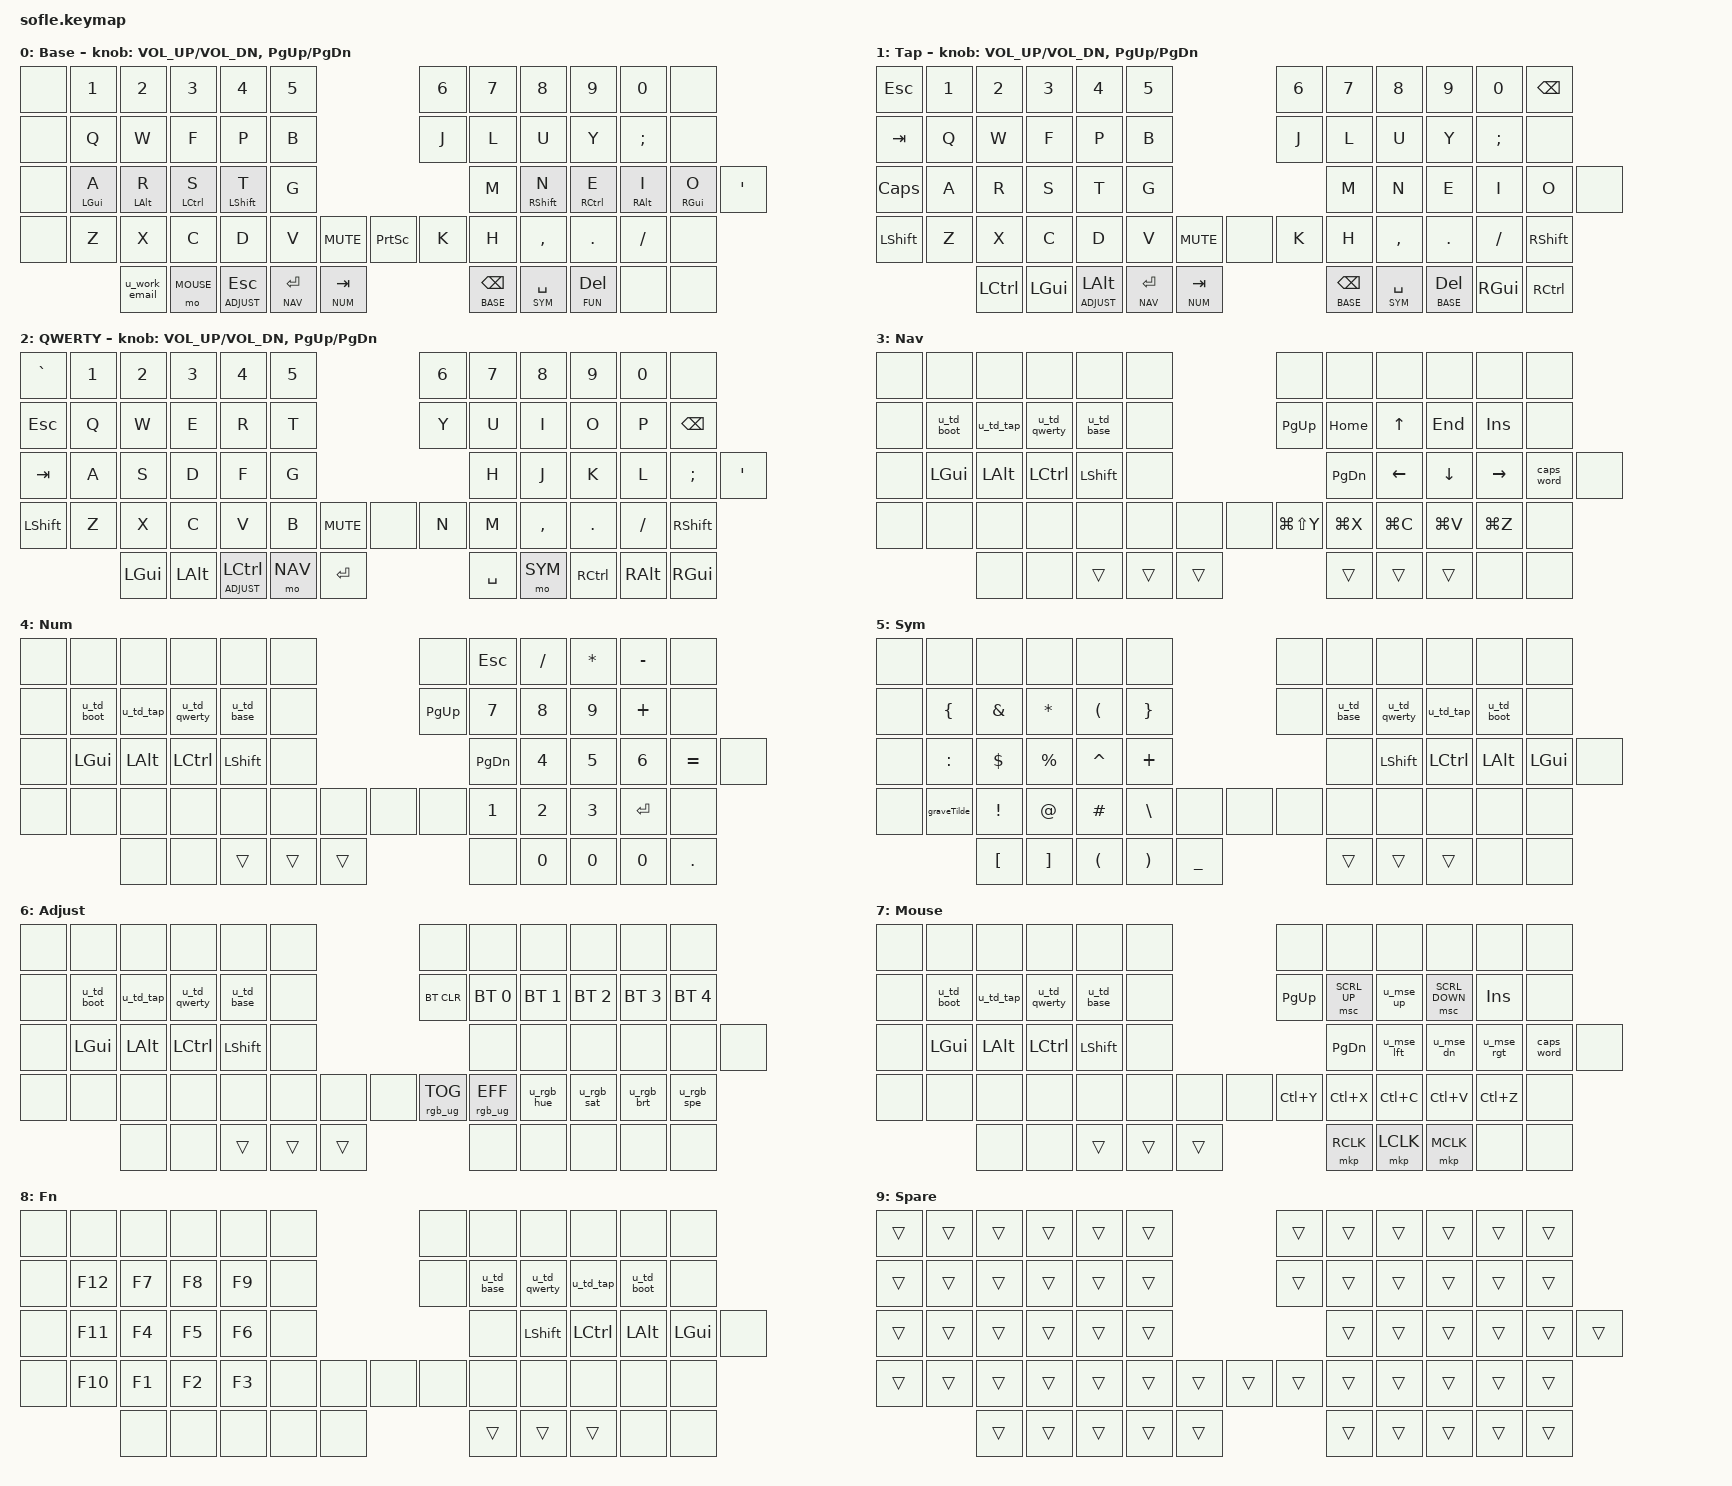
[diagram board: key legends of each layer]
/*
 * Copyright (c) 2020 The ZMK Contributors
 *
 * SPDX-License-Identifier: MIT
 */

#define ZMK_POINTING_DEFAULT_MOVE_VAL 1500  // default: 600
#define ZMK_POINTING_DEFAULT_SCRL_VAL 15    // default: 10

#include <behaviors.dtsi>
#include <dt-bindings/zmk/bt.h>
#include <dt-bindings/zmk/keys.h>
#include <dt-bindings/zmk/pointing.h>
#include <dt-bindings/zmk/rgb.h>

// Layer indices. Used everywhere a layer is referenced so the bindings stay
// self-documenting and renumbering is a one-line change.
#define BASE   0
#define TAP    1
#define EXTRA  2
#define NAV    3
#define NUM    4
#define SYM    5
#define ADJUST 6
#define MOUSE  7
#define FUN    8
// 9 = extra4 (reserved ZMK Studio runtime slot)
// 10 = Spare (transparent ZMK Studio runtime slot)

/ {
    combos {
        compatible = "zmk,combos";

        unlock {
            bindings = <&studio_unlock>;
            key-positions = <0 11>;
        };
    };

    behaviors {
        // Layer-tap: hold = momentary layer, tap = keypress.
        u_lt: u_lt {
            compatible = "zmk,behavior-hold-tap";
            label = "U_LT";
            #binding-cells = <2>;
            flavor = "tap-preferred";
            tapping-term-ms = <220>;
            bindings = <&mo>, <&kp>;
        };

        // Layer-tap with quick-tap: a tap immediately followed by a press
        // (within quick-tap-ms) sends the tap keycode held down, so it
        // auto-repeats instead of activating the layer. Used on the right
        // thumb cluster (backspace/space/delete) for hold-to-repeat.
        u_lt_rep: u_lt_rep {
            compatible = "zmk,behavior-hold-tap";
            label = "U_LT_REP";
            #binding-cells = <2>;
            flavor = "tap-preferred";
            tapping-term-ms = <220>;
            quick-tap-ms = <200>;
            bindings = <&mo>, <&kp>;
        };

        // SHIFT tier, left hand (T): balanced, eager hold so mid-flow capitals
        // fire on a cross-hand roll. Kept "as it stands now" (idle 150).
        hm_shift_l: hm_shift_l {
            compatible = "zmk,behavior-hold-tap";
            label = "HM_SHIFT_L";
            #binding-cells = <2>;
            flavor = "balanced";
            tapping-term-ms = <280>;
            quick-tap-ms = <175>;
            require-prior-idle-ms = <150>;
            bindings = <&kp>, <&kp>;
            hold-trigger-key-positions = <6 18 30 44 56 57 45 31 19 7 8 20 32 46 58 59 47 33 21 9 10 22 34 48 49 35 23 11 55 43>;
            hold-trigger-on-release;
        };

        // SHIFT tier, right hand (N): mirror of hm_shift_l.
        hm_shift_r: hm_shift_r {
            compatible = "zmk,behavior-hold-tap";
            label = "HM_SHIFT_R";
            #binding-cells = <2>;
            flavor = "balanced";
            tapping-term-ms = <280>;
            quick-tap-ms = <175>;
            require-prior-idle-ms = <150>;
            bindings = <&kp>, <&kp>;
            hold-trigger-key-positions = <0 12 24 36 37 25 13 1 2 14 26 38 50 51 39 27 15 3 4 28 16 40 52 53 41 17 29 5 54 42>;
            hold-trigger-on-release;
        };

        // ---- SHIFT tuning ladder (ZMK Studio scratch variants) -------------
        // Identical to hm_shift_l/r except require-prior-idle-ms. Lower idle =
        // hold can fire sooner after a prior key = fewer `ti` false-negatives
        // (at a small cost in benign stray-capital misfires). Flip T/N to a
        // lower-numbered variant in Studio if `ti` lingers; bake the winner
        // into hm_shift_l/r and delete these once tuned. Kept in the build by
        // ZMK_BEHAVIORS_KEEP_ALL, which the studio-rpc-usb-uart snippet in
        // build.yaml auto-defines for both halves (a preprocessor flag, not a
        // CONFIG_ Kconfig symbol — so nothing to set in sofle.conf).
        //   base hm_shift_l/r = 150  →  120  →  90  →  60  →  30
        // --------------------------------------------------------------------

        hm_shift_l_120: hm_shift_l_120 {
            compatible = "zmk,behavior-hold-tap";
            label = "HM_SHIFT_L_120";
            #binding-cells = <2>;
            flavor = "balanced";
            tapping-term-ms = <280>;
            quick-tap-ms = <175>;
            require-prior-idle-ms = <120>;
            bindings = <&kp>, <&kp>;
            hold-trigger-key-positions = <6 18 30 44 56 57 45 31 19 7 8 20 32 46 58 59 47 33 21 9 10 22 34 48 49 35 23 11 55 43>;
            hold-trigger-on-release;
        };
        hm_shift_r_120: hm_shift_r_120 {
            compatible = "zmk,behavior-hold-tap";
            label = "HM_SHIFT_R_120";
            #binding-cells = <2>;
            flavor = "balanced";
            tapping-term-ms = <280>;
            quick-tap-ms = <175>;
            require-prior-idle-ms = <120>;
            bindings = <&kp>, <&kp>;
            hold-trigger-key-positions = <0 12 24 36 37 25 13 1 2 14 26 38 50 51 39 27 15 3 4 28 16 40 52 53 41 17 29 5 54 42>;
            hold-trigger-on-release;
        };

        hm_shift_l_90: hm_shift_l_90 {
            compatible = "zmk,behavior-hold-tap";
            label = "HM_SHIFT_L_90";
            #binding-cells = <2>;
            flavor = "balanced";
            tapping-term-ms = <280>;
            quick-tap-ms = <175>;
            require-prior-idle-ms = <90>;
            bindings = <&kp>, <&kp>;
            hold-trigger-key-positions = <6 18 30 44 56 57 45 31 19 7 8 20 32 46 58 59 47 33 21 9 10 22 34 48 49 35 23 11 55 43>;
            hold-trigger-on-release;
        };
        hm_shift_r_90: hm_shift_r_90 {
            compatible = "zmk,behavior-hold-tap";
            label = "HM_SHIFT_R_90";
            #binding-cells = <2>;
            flavor = "balanced";
            tapping-term-ms = <280>;
            quick-tap-ms = <175>;
            require-prior-idle-ms = <90>;
            bindings = <&kp>, <&kp>;
            hold-trigger-key-positions = <0 12 24 36 37 25 13 1 2 14 26 38 50 51 39 27 15 3 4 28 16 40 52 53 41 17 29 5 54 42>;
            hold-trigger-on-release;
        };

        hm_shift_l_60: hm_shift_l_60 {
            compatible = "zmk,behavior-hold-tap";
            label = "HM_SHIFT_L_60";
            #binding-cells = <2>;
            flavor = "balanced";
            tapping-term-ms = <280>;
            quick-tap-ms = <175>;
            require-prior-idle-ms = <60>;
            bindings = <&kp>, <&kp>;
            hold-trigger-key-positions = <6 18 30 44 56 57 45 31 19 7 8 20 32 46 58 59 47 33 21 9 10 22 34 48 49 35 23 11 55 43>;
            hold-trigger-on-release;
        };
        hm_shift_r_60: hm_shift_r_60 {
            compatible = "zmk,behavior-hold-tap";
            label = "HM_SHIFT_R_60";
            #binding-cells = <2>;
            flavor = "balanced";
            tapping-term-ms = <280>;
            quick-tap-ms = <175>;
            require-prior-idle-ms = <60>;
            bindings = <&kp>, <&kp>;
            hold-trigger-key-positions = <0 12 24 36 37 25 13 1 2 14 26 38 50 51 39 27 15 3 4 28 16 40 52 53 41 17 29 5 54 42>;
            hold-trigger-on-release;
        };

        hm_shift_l_30: hm_shift_l_30 {
            compatible = "zmk,behavior-hold-tap";
            label = "HM_SHIFT_L_30";
            #binding-cells = <2>;
            flavor = "balanced";
            tapping-term-ms = <280>;
            quick-tap-ms = <175>;
            require-prior-idle-ms = <30>;
            bindings = <&kp>, <&kp>;
            hold-trigger-key-positions = <6 18 30 44 56 57 45 31 19 7 8 20 32 46 58 59 47 33 21 9 10 22 34 48 49 35 23 11 55 43>;
            hold-trigger-on-release;
        };
        hm_shift_r_30: hm_shift_r_30 {
            compatible = "zmk,behavior-hold-tap";
            label = "HM_SHIFT_R_30";
            #binding-cells = <2>;
            flavor = "balanced";
            tapping-term-ms = <280>;
            quick-tap-ms = <175>;
            require-prior-idle-ms = <30>;
            bindings = <&kp>, <&kp>;
            hold-trigger-key-positions = <0 12 24 36 37 25 13 1 2 14 26 38 50 51 39 27 15 3 4 28 16 40 52 53 41 17 29 5 54 42>;
            hold-trigger-on-release;
        };

        // MOD tier, left hand (GUI/ALT/CTRL): tap-preferred baseline reverted
        // to the proven pre-refactor settings. Only triggers on a right-hand key.
        hm_mod_l: hm_mod_l {
            compatible = "zmk,behavior-hold-tap";
            label = "HM_MOD_L";
            #binding-cells = <2>;
            flavor = "tap-preferred";
            tapping-term-ms = <240>;
            bindings = <&kp>, <&kp>;
            hold-trigger-key-positions = <6 18 30 44 56 57 45 31 19 7 8 20 32 46 58 59 47 33 21 9 10 22 34 48 49 35 23 11 55 43>;
        };

        // MOD tier, right hand: mirror of hm_mod_l. Only triggers on a left-hand key.
        hm_mod_r: hm_mod_r {
            compatible = "zmk,behavior-hold-tap";
            label = "HM_MOD_R";
            #binding-cells = <2>;
            flavor = "tap-preferred";
            tapping-term-ms = <240>;
            bindings = <&kp>, <&kp>;
            hold-trigger-key-positions = <0 12 24 36 37 25 13 1 2 14 26 38 50 51 39 27 15 3 4 28 16 40 52 53 41 17 29 5 54 42>;
        };

        // RGB controls: tap = increase, shift+tap = decrease.
        u_rgb_hue: u_rgb_hue {
            compatible = "zmk,behavior-mod-morph";
            label = "RGB_HUE";
            #binding-cells = <0>;
            mods = <(MOD_LSFT|MOD_RSFT)>;
            bindings = <&rgb_ug RGB_HUI>, <&rgb_ug RGB_HUD>;
        };

        u_rgb_sat: u_rgb_sat {
            compatible = "zmk,behavior-mod-morph";
            label = "RGB_SAT";
            #binding-cells = <0>;
            mods = <(MOD_LSFT|MOD_RSFT)>;
            bindings = <&rgb_ug RGB_SAI>, <&rgb_ug RGB_SAD>;
        };

        u_rgb_brt: u_rgb_brt {
            compatible = "zmk,behavior-mod-morph";
            label = "RGB_BRT";
            #binding-cells = <0>;
            mods = <(MOD_LSFT|MOD_RSFT)>;
            bindings = <&rgb_ug RGB_BRI>, <&rgb_ug RGB_BRD>;
        };

        u_rgb_spe: u_rgb_spe {
            compatible = "zmk,behavior-mod-morph";
            label = "RGB_SPE";
            #binding-cells = <0>;
            mods = <(MOD_LSFT|MOD_RSFT)>;
            bindings = <&rgb_ug RGB_SPI>, <&rgb_ug RGB_SPD>;
        };

        // Pointer: tap = move, shift+tap = scroll.
        u_mse_up: u_mse_up {
            compatible = "zmk,behavior-mod-morph";
            label = "MOUSE/SCROLL_UP";
            #binding-cells = <0>;
            mods = <(MOD_LSFT|MOD_RSFT)>;
            bindings = <&mmv MOVE_UP>, <&msc SCRL_UP>;
        };

        u_mse_dn: u_mse_dn {
            compatible = "zmk,behavior-mod-morph";
            label = "MOUSE/SCROLL_DN";
            #binding-cells = <0>;
            mods = <(MOD_LSFT|MOD_RSFT)>;
            bindings = <&mmv MOVE_DOWN>, <&msc SCRL_DOWN>;
        };

        u_mse_lft: u_mse_lft {
            compatible = "zmk,behavior-mod-morph";
            label = "MOUSE/SCROLL_LFT";
            #binding-cells = <0>;
            mods = <(MOD_LSFT|MOD_RSFT)>;
            bindings = <&mmv MOVE_LEFT>, <&msc SCRL_LEFT>;
        };

        u_mse_rgt: u_mse_rgt {
            compatible = "zmk,behavior-mod-morph";
            label = "MOUSE/SCROLL_RGT";
            #binding-cells = <0>;
            mods = <(MOD_LSFT|MOD_RSFT)>;
            bindings = <&mmv MOVE_RIGHT>, <&msc SCRL_RIGHT>;
        };

        // Tap-dances: tap once = nothing, tap twice = the action (guards
        // against accidental layer/bootloader/base switches).
        u_td_base: u_td_base {
            compatible = "zmk,behavior-tap-dance";
            label = "U_TD_BASE";
            #binding-cells = <0>;
            bindings = <&none>, <&to BASE>;
        };

        u_td_qwerty: u_td_qwerty {
            compatible = "zmk,behavior-tap-dance";
            label = "U_TD_QWERTY";
            #binding-cells = <0>;
            bindings = <&none>, <&to EXTRA>;
        };

        u_td_tap: u_td_tap {
            compatible = "zmk,behavior-tap-dance";
            label = "U_TD_TAP";
            #binding-cells = <0>;
            bindings = <&none>, <&to TAP>;
        };

        u_td_boot: u_td_boot {
            compatible = "zmk,behavior-tap-dance";
            label = "U_TD_BOOT";
            #binding-cells = <0>;
            bindings = <&none>, <&bootloader>;
        };
        graveTilde: graveTilde {
            compatible = "zmk,behavior-mod-morph";
            #binding-cells = <0>;
            bindings = <&kp TILDE>, <&kp GRAVE>;
            mods = <(MOD_LSFT|MOD_RSFT)>;
        };
    };

    macros {
        u_work_email: u_work_email {
            compatible = "zmk,behavior-macro";
            label = "WORK_EMAIL";
            #binding-cells = <0>;
            tap-ms = <5>;
            bindings = <&kp C &kp B &kp R &kp O &kp M &kp P &kp T &kp O &kp N &kp AT &kp D &kp E &kp L &kp T &kp A &kp C &kp O &kp N &kp T &kp R &kp O &kp L &kp S &kp DOT &kp C &kp O &kp M>;
        };
    };

    keymap {
        compatible = "zmk,keymap";

        Base {
            display-name = "Base";

            // ------------------------------------------------------------------------------------------------------------
            // |   `   |  1  |  2  |  3   |  4   |  5   |                   |  6   |  7    |  8    |  9   |   0   |       |
            // |  ESC  |  Q  |  W  |  F   |  P   |  B   |                   |  J   |  L    |  U    |  Y   |   ;   | BKSPC |
            // |  TAB  |  A  |  R  |  S   |  T   |  G   |                   |  M   |  N    |  E    |  I   |   O   |   '   |
            // | SHIFT |  Z  |  X  |  C   |  D   |  V   |  MUTE  |  |       |  K   |  H    |  ,    |  .   |   /   | SHIFT |
            //               | GUI | ALT  | CTRL | ENTER|  LOWER |  | RAISE | SPACE| CTRL  | ALT   | GUI  |

            bindings = <
&none  &kp N1          &kp N2          &kp N3           &kp N4           &kp N5                                       &kp N6         &kp N7           &kp N8           &kp N9          &kp N0               &none
&none  &kp Q           &kp W           &kp F            &kp P            &kp B                                        &kp J          &kp L            &kp U            &kp Y           &kp SEMI             &none
&none  &hm_mod_l LGUI A  &hm_mod_l LALT R  &hm_mod_l LCTRL S  &hm_shift_l LSHFT T  &kp G                                        &kp M          &hm_shift_r RSHFT N  &hm_mod_r RCTRL E  &hm_mod_r RALT I  &hm_mod_r RIGHT_GUI O  &kp APOS
&none  &kp Z           &kp X           &kp C            &kp D            &kp V       &kp C_MUTE  &kp PSCRN            &kp K          &kp H            &kp COMMA        &kp DOT         &kp FSLH             &none
                       &u_work_email     &mo MOUSE        &u_lt ADJUST ESC  &u_lt NAV ENTER  &u_lt NUM TAB  &u_lt_rep BASE BACKSPACE  &u_lt_rep SYM SPACE  &u_lt_rep FUN DELETE  &none  &none
            >;

            sensor-bindings = <&inc_dec_kp C_VOL_UP C_VOL_DN &inc_dec_kp PG_UP PG_DN>;
        };

        Tap {
            display-name = "Tap";

            bindings = <
&kp ESC    &kp N1  &kp N2     &kp N3    &kp N4                 &kp N5                                            &kp N6         &kp N7           &kp N8     &kp N9     &kp N0    &kp BSPC
&kp TAB    &kp Q   &kp W      &kp F     &kp P                  &kp B                                             &kp J          &kp L            &kp U      &kp Y      &kp SEMI  &none
&kp CAPS   &kp A   &kp R      &kp S     &kp T                  &kp G                                             &kp M          &kp N            &kp E      &kp I      &kp O     &none
&kp LSHFT  &kp Z   &kp X      &kp C     &kp D                  &kp V          &kp C_MUTE  &none                 &kp K          &kp H            &kp COMMA  &kp DOT    &kp FSLH  &kp RSHFT
                   &kp LCTRL  &kp LGUI  &u_lt ADJUST LEFT_ALT  &u_lt NAV ENTER  &u_lt NUM TAB  &u_lt BASE BACKSPACE  &u_lt SYM SPACE  &u_lt BASE DELETE  &kp RGUI  &kp RCTRL
            >;

            sensor-bindings = <&inc_dec_kp C_VOL_UP C_VOL_DN &inc_dec_kp PG_UP PG_DN>;
        };

        Qwerty {
            display-name = "QWERTY";

            // ------------------------------------------------------------------------------------------------------------
            // |   `   |  1  |  2  |  3   |  4   |  5   |                   |  6   |  7    |  8    |  9   |   0   |       |
            // |  ESC  |  Q  |  W  |  E   |  R   |  T   |                   |  Y   |  U    |  I    |  O   |   P   | BKSPC |
            // |  TAB  |  A  |  S  |  D   |  F   |  G   |                   |  H   |  J    |  K    |  L   |   ;   |   '   |
            // | SHIFT |  Z  |  X  |  C   |  V   |  B   |  MUTE  |  |       |  N   |  M    |  ,    |  .   |   /   | SHIFT |
            //               | GUI | ALT  | CTRL | LOWER|  ENTER |  | SPACE | RAISE| CTRL  | ALT   | GUI  |

            bindings = <
&kp GRAVE  &kp N1  &kp N2    &kp N3    &kp N4              &kp N5                          &kp N6   &kp N7     &kp N8     &kp N9    &kp N0    &none
&kp ESC    &kp Q   &kp W     &kp E     &kp R               &kp T                           &kp Y    &kp U      &kp I      &kp O     &kp P     &kp BSPC
&kp TAB    &kp A   &kp S     &kp D     &kp F               &kp G                           &kp H    &kp J      &kp K      &kp L     &kp SEMI  &kp SQT
&kp LSHFT  &kp Z   &kp X     &kp C     &kp V               &kp B   &kp C_MUTE  &none       &kp N    &kp M      &kp COMMA  &kp DOT   &kp FSLH  &kp RSHFT
                   &kp LGUI  &kp LALT  &u_lt ADJUST LCTRL  &mo NAV  &kp RET    &kp SPACE   &mo SYM  &kp RCTRL  &kp RALT   &kp RGUI
            >;

            sensor-bindings = <&inc_dec_kp C_VOL_UP C_VOL_DN &inc_dec_kp PG_UP PG_DN>;
        };

        Nav {
            display-name = "Nav";

            bindings = <
&none  &none     &none        &none          &none         &none                     &none          &none           &none           &none            &none       &none
&none  &u_td_boot   &u_td_tap  &u_td_qwerty  &u_td_base  &none                     &kp PG_UP      &kp HOME        &kp UP_ARROW    &kp END          &kp INS     &none
&none  &kp LGUI  &kp LALT     &kp LCTRL      &kp LSHFT     &none                     &kp PG_DN      &kp LEFT_ARROW  &kp DOWN_ARROW  &kp RIGHT_ARROW  &caps_word  &none
&none  &none     &none        &none          &none         &none   &none     &none   &kp LG(LS(Y))  &kp LG(X)       &kp LG(C)       &kp LG(V)        &kp LG(Z)   &none
                 &none        &none          &trans        &trans  &trans    &trans  &trans         &trans          &none           &none
            >;
        };

        Num {
            display-name = "Num";

            bindings = <
&none  &none     &none        &none          &none         &none                    &none      &kp ESC  &kp FSLH  &kp ASTRK  &kp MINUS  &none
&none  &u_td_boot   &u_td_tap  &u_td_qwerty  &u_td_base  &none                    &kp PG_UP  &kp N7   &kp N8    &kp N9     &kp PLUS   &none
&none  &kp LGUI  &kp LALT     &kp LCTRL      &kp LSHFT     &none                    &kp PG_DN  &kp N4   &kp N5    &kp N6     &kp EQUAL  &none
&none  &none     &none        &none          &none         &none   &none     &none  &none      &kp N1   &kp N2    &kp N3     &kp ENTER  &none
                 &none        &none          &trans        &trans  &trans    &none  &kp N0     &kp N0   &kp N0    &kp DOT
            >;
        };

        Sym {
            display-name = "Sym";

            bindings = <
&none  &none           &none             &none              &none                 &none                                       &none   &none         &none          &none        &none     &none
&none  &kp LEFT_BRACE  &kp AMPS          &kp ASTRK          &kp LEFT_PARENTHESIS  &kp RIGHT_BRACE                             &none   &u_td_base  &u_td_qwerty  &u_td_tap  &u_td_boot   &none
&none  &kp COLON       &kp DOLLAR        &kp PERCENT        &kp CARET             &kp PLUS                                    &none   &kp LSHFT     &kp LCTRL      &kp LALT     &kp LGUI  &none
&none  &graveTilde       &kp EXCL          &kp AT             &kp POUND             &kp BACKSLASH          &none        &none   &none   &none         &none          &none        &none     &none
                       &kp LEFT_BRACKET  &kp RIGHT_BRACKET  &kp LEFT_PARENTHESIS  &kp RIGHT_PARENTHESIS  &kp UNDER    &trans  &trans  &trans        &none          &none
            >;
        };

        Adjust {
            display-name = "Adjust";

            bindings = <
&none  &none     &none        &none          &none         &none                    &none            &none            &none         &none         &none         &none
&none  &u_td_boot   &u_td_tap  &u_td_qwerty  &u_td_base  &none                    &bt BT_CLR       &bt BT_SEL 0     &bt BT_SEL 1  &bt BT_SEL 2  &bt BT_SEL 3  &bt BT_SEL 4
&none  &kp LGUI  &kp LALT     &kp LCTRL      &kp LSHFT     &none                    &none            &none            &none         &none         &none         &none
&none  &none     &none        &none          &none         &none   &none     &none  &rgb_ug RGB_TOG  &rgb_ug RGB_EFF  &u_rgb_hue      &u_rgb_sat      &u_rgb_brt      &u_rgb_spe
                 &none        &none          &trans        &trans  &trans    &none  &none            &none            &none         &none
            >;
        };

        Mouse {
            display-name = "Mouse";

            bindings = <
&none  &none     &none        &none          &none         &none                        &none      &none         &none      &none           &none       &none
&none  &u_td_boot   &u_td_tap  &u_td_qwerty  &u_td_base  &none                        &kp PG_UP  &msc SCRL_UP  &u_mse_up    &msc SCRL_DOWN  &kp INS     &none
&none  &kp LGUI  &kp LALT     &kp LCTRL      &kp LSHFT     &none                        &kp PG_DN  &u_mse_lft      &u_mse_dn    &u_mse_rgt        &caps_word  &none
&none  &none     &none        &none          &none         &none   &none     &none      &kp LC(Y)  &kp LC(X)     &kp LC(C)  &kp LC(V)       &kp LC(Z)   &none
                 &none        &none          &trans        &trans  &trans    &mkp RCLK  &mkp LCLK  &mkp MCLK     &none      &none
            >;
        };

        // Function layer (Miryoku-style, F-keys only). Left hand places the
        // F-keys in the same keypad layout the Sym layer uses for the shifted
        // number row: F7/F8/F9, F4/F5/F6, F1/F2/F3 on the ring/middle/index
        // columns, with F12/F11/F10 top-to-bottom on the pinky. The right hand
        // mirrors the Sym layer exactly (layer tap-dances + GACS mods). Spare
        // Sofle columns are left as &none. Access: hold the Base layer's
        // outer right thumb key (position 57, tap = delete). Placed before the
        // reserved slot so its index (8) is stable whether or not ZMK Studio
        // counts reserved layers toward the layer index.
        Fn {
            display-name = "Fn";

            bindings = <
&none  &none    &none   &none   &none   &none                                       &none  &none       &none         &none      &none       &none
&none  &kp F12  &kp F7  &kp F8  &kp F9  &none                                       &none  &u_td_base  &u_td_qwerty  &u_td_tap  &u_td_boot  &none
&none  &kp F11  &kp F4  &kp F5  &kp F6  &none                                       &none  &kp LSHFT   &kp LCTRL     &kp LALT   &kp LGUI    &none
&none  &kp F10  &kp F1  &kp F2  &kp F3  &none        &none           &none          &none  &none       &none         &none      &none       &none
                &none   &none   &none   &none        &none    &trans  &trans         &trans  &none       &none
            >;
        };

        // Reserved/spare slots so ZMK Studio can add layers at runtime.
        extra4 { status = "reserved"; };

        Spare {
            display-name = "Spare";

            bindings = <
&trans  &trans  &trans  &trans  &trans  &trans                    &trans  &trans  &trans  &trans  &trans  &trans
&trans  &trans  &trans  &trans  &trans  &trans                    &trans  &trans  &trans  &trans  &trans  &trans
&trans  &trans  &trans  &trans  &trans  &trans                    &trans  &trans  &trans  &trans  &trans  &trans
&trans  &trans  &trans  &trans  &trans  &trans  &trans    &trans  &trans  &trans  &trans  &trans  &trans  &trans
                &trans  &trans  &trans  &trans  &trans    &trans  &trans  &trans  &trans  &trans
            >;
        };
    };
};
